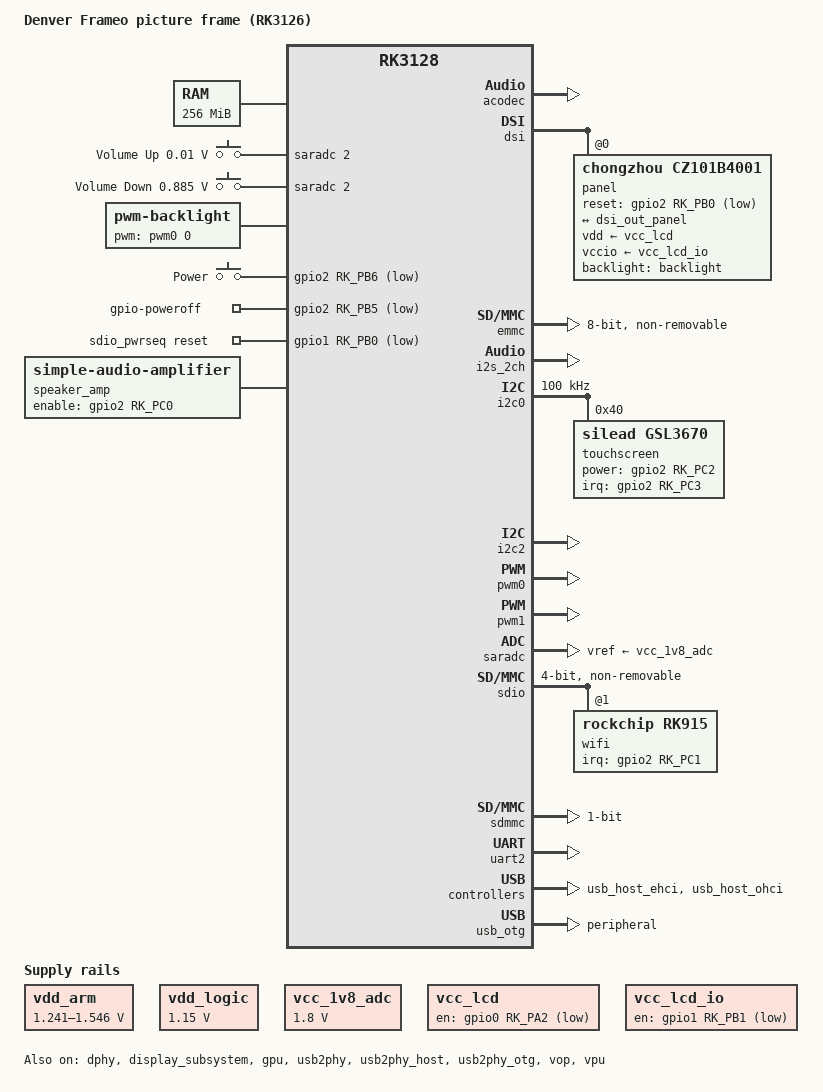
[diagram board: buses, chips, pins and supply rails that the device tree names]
// SPDX-License-Identifier: (GPL-2.0+ OR MIT)
/*
 * Denver Frameo picture frame (RK3126B, "F606C" board by ZhiHeXing).
 *
 * Derived from the device tree of the stock Android firmware
 * (resource partition, rk-kernel.dtb):
 *
 *   display     800x1280 MIPI DSI, 4 lanes, JD9365 controller with the
 *               same init sequence as the Chongzhou CZ101B4001 panel
 *   backlight   PWM0, 40 kHz
 *   panel power GPIO0_A2 (active low), GPIO1_B1 (active low),
 *               reset GPIO2_B0
 *   touch       GSL3673 on I2C0 0x40, IRQ GPIO2_C3, power GPIO2_C2
 *   buttons     SARADC channel 2 (volume up/down), power GPIO2_B6
 *   WiFi        RK915 on SDIO, power GPIO1_B0, wakeup GPIO2_C1
 *   audio       internal codec on the 2-channel I2S, speaker amplifier
 *               enable GPIO2_C0
 *   power off   GPIO2_B5 (power hold, active low = off)
 *
 * vdd_arm comes from a PWM controlled DC/DC converter on PWM1, vdd_logic
 * from a fixed one (board rails "AVDD" and "CVDD", voltages measured).
 *
 * UART2 (GPIO1_C2/C3) shares its pins with SDMMC_D0/D1. This device tree
 * keeps them on the UART (SD card in 1-bit mode without D0, only usable
 * from U-Boot); rk3126-denver-frame-sdroot.dts gives D0 to the SD card for
 * a root filesystem on it.
 */

/dts-v1/;

#include <dt-bindings/input/input.h>
#include "rk3128.dtsi"

/*
 * The SoC is an RK3126B: a few clock gates differ from the RK3128.
 *
 * CPLL at 800 MHz instead of 500 MHz, for a real 400 MHz GPU clock
 * (CPLL/2, see the GPU). The clocks below CPLL that no driver sets get
 * fixed rates: pclk_pmu 80 MHz (800/10, was 83 MHz), hclk_vio moves to
 * GPLL at 118.8 MHz (594/5, was 125 MHz). eMMC, SDIO, UART and I2S drivers
 * set their own rates.
 */
&cru {
	compatible = "rockchip,rk3126-cru";
	assigned-clocks = <&cru PLL_GPLL>, <&cru PLL_CPLL>,
			  <&cru PCLK_PMU_PRE>, <&cru HCLK_VIO>;
	assigned-clock-parents = <0>, <0>, <0>, <&cru PLL_GPLL>;
	assigned-clock-rates = <594000000>, <800000000>,
			       <80000000>, <118800000>;
};

&cpu0 {
	cpu-supply = <&vdd_arm>;
};

/*
 * Voltages are real (measured curve of vdd_arm, see the regulator), the
 * limits found with a self-checking stress test on all four cores
 * (2026-10-15): 816 MHz runs at the lowest possible 1.241 V, 1008 MHz needs
 * about 1.36 V, 1104 MHz 1.44 V, 1200 MHz 1.52 V; 1296 MHz fails even at
 * the regulator maximum of 1.546 V. The stock voltage for 1008 MHz
 * (1.2 V nominal, 1.27 V real) is too low and produces wrong results.
 *
 * 1008 and 1104 MHz get about 60 mV of margin. 1200 MHz is only reached at
 * the regulator maximum (25 mV margin), so it is a turbo OPP: used only
 * after "echo 1 > /sys/devices/system/cpu/cpufreq/boost". The chip reached
 * about 53 degrees C at 1200 MHz under full load. There is no temperature
 * sensor.
 */
&cpu_opp_table {
	opp-216000000 {
		opp-microvolt = <1241000 1241000 1546000>;
	};
	opp-408000000 {
		opp-microvolt = <1241000 1241000 1546000>;
	};
	opp-600000000 {
		opp-microvolt = <1241000 1241000 1546000>;
	};
	opp-696000000 {
		opp-microvolt = <1241000 1241000 1546000>;
	};
	opp-816000000 {
		opp-microvolt = <1241000 1241000 1546000>;
	};
	opp-1008000000 {
		opp-microvolt = <1425000 1425000 1546000>;
	};
	opp-1104000000 {
		opp-hz = /bits/ 64 <1104000000>;
		opp-microvolt = <1500000 1500000 1546000>;
		clock-latency-ns = <40000>;
	};
	opp-1200000000 {
		opp-microvolt = <1546000 1546000 1546000>;
		turbo-mode;
	};
};

/ {
	model = "Denver Frameo picture frame (RK3126)";
	/* rk3126: the RK915 driver picks its SDIO clock per channel by SoC */
	compatible = "denver,frameo-rk3126", "rockchip,rk3126", "rockchip,rk3128";

	aliases {
		mmc0 = &emmc;
		mmc1 = &sdmmc;
		mmc2 = &sdio;
		/* U-Boot writes the MAC address derived from the CPU ID here */
		ethernet0 = &wifi;
	};

	chosen {
		stdout-path = "serial2:115200n8";
	};

	/* Overwritten by U-Boot with the size detected by the DDR init */
	memory@60000000 {
		device_type = "memory";
		reg = <0x60000000 0x10000000>;
	};

	adc-keys {
		compatible = "adc-keys";
		io-channels = <&saradc 2>;
		io-channel-names = "buttons";
		keyup-threshold-microvolt = <1800000>;
		poll-interval = <100>;

		button-volume-up {
			label = "Volume Up";
			linux,code = <KEY_VOLUMEUP>;
			press-threshold-microvolt = <10000>;
		};

		button-volume-down {
			label = "Volume Down";
			linux,code = <KEY_VOLUMEDOWN>;
			press-threshold-microvolt = <885000>;
		};
	};

	backlight: backlight {
		compatible = "pwm-backlight";
		pwms = <&pwm0 0 25000 0>;
		brightness-levels = <0 255>;
		num-interpolated-steps = <255>;
		default-brightness-level = <255>;
	};

	gpio-keys {
		compatible = "gpio-keys";

		button-power {
			label = "Power";
			gpios = <&gpio2 RK_PB6 GPIO_ACTIVE_LOW>;
			linux,code = <KEY_POWER>;
			wakeup-source;
		};
	};

	/* Releases the power hold line, the board switches itself off */
	gpio-poweroff {
		compatible = "gpio-poweroff";
		gpios = <&gpio2 RK_PB5 GPIO_ACTIVE_LOW>;
	};

	sdio_pwrseq: sdio-pwrseq {
		compatible = "mmc-pwrseq-simple";
		/* WiFi power enable, high = on */
		reset-gpios = <&gpio1 RK_PB0 GPIO_ACTIVE_LOW>;
	};

	/*
	 * CPU core voltage (board rail "AVDD"), a DC/DC converter controlled
	 * by PWM1. Measured on the board (2026-10-15): linear, 1546 mV at
	 * 0 % duty, 3.106 mV less per percent, 1241 mV at 98.2 %. The stock
	 * U-Boot formula (1450 mV at 0 %, 2.8 mV per percent) is 66 to 96 mV
	 * too low for this board.
	 *
	 * vdd_arm follows the CPU clock (cpufreq, OPP table above), so it is
	 * a continuous regulator, limited to the measured range up to 98.2 %.
	 */
	vdd_arm: regulator-vdd-arm {
		compatible = "pwm-regulator";
		pwms = <&pwm1 0 25000 0>;
		regulator-name = "vdd_arm";
		regulator-min-microvolt = <1241000>;
		regulator-max-microvolt = <1546000>;
		regulator-always-on;
		regulator-boot-on;
		/* The stock U-Boot waits 200 us after changing the PWM */
		regulator-settling-time-us = <500>;
		pwm-dutycycle-unit = <1000>;
		pwm-dutycycle-range = <982 0>;
	};

	/*
	 * Logic core voltage (board rail "CVDD", also GPU and DDR controller),
	 * measured 1.148 V. A fixed DC/DC converter: the RK3126 has no
	 * PWM2 pin (GPIO0_D4 is not bonded out), the PWM2 regulator of the
	 * stock device tree comes from the RK3128 SDK and does nothing here.
	 * Declared as 1.15 V so the 400 MHz GPU OPP (minimum 1.15 V) stays.
	 */
	vdd_logic: regulator-vdd-logic {
		compatible = "regulator-fixed";
		regulator-name = "vdd_logic";
		regulator-min-microvolt = <1150000>;
		regulator-max-microvolt = <1150000>;
		regulator-always-on;
		regulator-boot-on;
	};

	/* SARADC reference, the stock firmware uses 1.8 V */
	vcc_1v8_adc: regulator-vcc-1v8-adc {
		compatible = "regulator-fixed";
		regulator-name = "vcc_1v8_adc";
		regulator-min-microvolt = <1800000>;
		regulator-max-microvolt = <1800000>;
		regulator-always-on;
	};

	/* Panel power switches, both active low in the stock firmware */
	vcc_lcd: regulator-vcc-lcd {
		compatible = "regulator-fixed";
		regulator-name = "vcc_lcd";
		gpio = <&gpio0 RK_PA2 GPIO_ACTIVE_LOW>;
		startup-delay-us = <100000>;
	};

	vcc_lcd_io: regulator-vcc-lcd-io {
		compatible = "regulator-fixed";
		regulator-name = "vcc_lcd_io";
		gpio = <&gpio1 RK_PB1 GPIO_ACTIVE_LOW>;
		startup-delay-us = <100000>;
	};
};

&dphy {
	status = "okay";
};

&dsi {
	#address-cells = <1>;
	#size-cells = <0>;
	status = "okay";

	panel@0 {
		compatible = "chongzhou,cz101b4001", "jadard,jd9365da-h3";
		reg = <0>;
		backlight = <&backlight>;
		reset-gpios = <&gpio2 RK_PB0 GPIO_ACTIVE_LOW>;
		vdd-supply = <&vcc_lcd>;
		vccio-supply = <&vcc_lcd_io>;

		port {
			panel_in_dsi: endpoint {
				remote-endpoint = <&dsi_out_panel>;
			};
		};
	};
};

&dsi_out {
	dsi_out_panel: endpoint {
		remote-endpoint = <&panel_in_dsi>;
	};
};

&display_subsystem {
	status = "okay";
};

/*
 * No pinctrl: RK3126 and RK3128 route EMMC_CMD to different pins, the
 * Rockchip loader has already set them up.
 */
&emmc {
	bus-width = <8>;
	cap-mmc-highspeed;
	non-removable;
	no-sd;
	no-sdio;
	status = "okay";
};

/*
 * Audio: the internal codec (inno_rk3128, kernel patch 0004) gets its
 * data and MCLK from the 2-channel I2S inside the SoC, its output stage
 * drives two speaker amplifiers (marked 4890, LM4890 class AB, one per
 * speaker), both switched with GPIO2_C0 (stock device tree: spk_ctl_io).
 * DAPM powers the codec first, then the amplifiers.
 *
 * Open problem: playback works, but sounds heavily distorted (strong
 * harmonics on a sine, at any volume). The I2S format, clocks and codec
 * register sequence match the vendor driver; the cause is not found yet,
 * the analog side (amplifier supply and bias) still needs measuring.
 *
 * The RK3126 has no 8-channel I2S and no SPDIF: every access to
 * 0x10200000 and 0x10204000 ends in a bus error. The stock device tree
 * (RK3128 SDK) names i2s_8ch for the codec, but enables the 2-channel
 * I2S without pins, which is the internal connection.
 */
/ {
	acodec: audio-codec@20030000 {
		compatible = "rockchip,rk3128-codec";
		reg = <0x20030000 0x4000>;
		clocks = <&cru PCLK_ACODEC>;
		clock-names = "pclk";
		#sound-dai-cells = <0>;
	};

	speaker_amp: audio-amplifier {
		compatible = "simple-audio-amplifier";
		enable-gpios = <&gpio2 RK_PC0 GPIO_ACTIVE_HIGH>;
		sound-name-prefix = "Speaker Amp";
	};

	sound {
		compatible = "simple-audio-card";
		simple-audio-card,name = "Frame";
		simple-audio-card,format = "i2s";
		simple-audio-card,mclk-fs = <256>;
		simple-audio-card,widgets = "Speaker", "Speaker";
		simple-audio-card,routing =
			"Speaker Amp INL", "HPOUTL",
			"Speaker Amp INR", "HPOUTR",
			"Speaker", "Speaker Amp OUTL",
			"Speaker", "Speaker Amp OUTR";
		simple-audio-card,aux-devs = <&speaker_amp>;

		simple-audio-card,cpu {
			sound-dai = <&i2s_2ch>;
		};

		simple-audio-card,codec {
			sound-dai = <&acodec>;
		};
	};
};

/* Internal connection to the codec, not the external I2S pins */
&i2s_2ch {
	/delete-property/ pinctrl-names;
	/delete-property/ pinctrl-0;
	status = "okay";
};

/*
 * Mali-400 MP2 (lima). vdd_logic is fixed at 1.15 V, so the GPU clock is
 * scaled without voltage changes: drop the 480 MHz point (1.25 V). The
 * stock firmware ran the GPU at 396 MHz.
 *
 * The GPU clock is a divider after a PLL mux: 400 and 200 MHz come from
 * CPLL (800 MHz), 300 MHz would be GPLL/2 (297 MHz). Switching between
 * the two PLLs at run time (devfreq) made the system unstable (dying
 * processes, a white kiosk), so the 300 MHz point is dropped: only the
 * divider changes. 500 MHz fails at 1.15 V (2026-10-16).
 */
&gpu {
	/* Fixed 1.15 V, within the range of all remaining GPU OPPs */
	mali-supply = <&vdd_logic>;
	status = "okay";
};

&gpu_opp_table {
	/delete-node/ opp-300000000;
	/delete-node/ opp-480000000;
};

&i2c0 {
	/*
	 * The stock firmware uses 300 kHz, but then the GSL3673 reads back
	 * wrong data (some 0 bits read as 1) and the firmware load fails.
	 */
	clock-frequency = <100000>;
	status = "okay";

	/*
	 * The touch controller reports 1024x640 with its X axis along the
	 * long side of the panel, running from the bottom (framebuffer
	 * y = 1280) to the top.
	 */
	touchscreen@40 {
		compatible = "silead,gsl3670";
		reg = <0x40>;
		interrupt-parent = <&gpio2>;
		interrupts = <RK_PC3 IRQ_TYPE_EDGE_FALLING>;
		power-gpios = <&gpio2 RK_PC2 GPIO_ACTIVE_HIGH>;
		firmware-name = "gsl3673-denver-frame.fw";
		touchscreen-size-x = <1024>;
		touchscreen-size-y = <640>;
		touchscreen-inverted-x;
		touchscreen-swapped-x-y;
		silead,max-fingers = <10>;
	};
};

/* Enabled for probing only: the stock firmware lists a Goodix touch here */
&i2c2 {
	status = "okay";
};

/*
 * Reading the QoS registers (saved before a power domain is switched off)
 * causes an external abort on the RK3126, and the kernel then hangs on the
 * power domain lock. Skip saving/restoring them; they only hold bus
 * priorities.
 */
&power {
	power-domain@RK3128_PD_VIO {
		/delete-property/ pm_qos;
	};

	power-domain@RK3128_PD_VIDEO {
		/delete-property/ pm_qos;
	};

	power-domain@RK3128_PD_GPU {
		/delete-property/ pm_qos;
	};
};

&pinctrl {
	wifi {
		wifi_host_wake: wifi-host-wake {
			rockchip,pins = <2 RK_PC1 RK_FUNC_GPIO &pcfg_pull_default>;
		};
	};
};

&pwm0 {
	status = "okay";
};

/* vdd_arm */
&pwm1 {
	status = "okay";
};

&saradc {
	vref-supply = <&vcc_1v8_adc>;
	status = "okay";
};

/* RK915 WiFi, out-of-tree driver in drivers/rk915 */
&sdio {
	#address-cells = <1>;
	#size-cells = <0>;
	bus-width = <4>;
	cap-sd-highspeed;
	cap-sdio-irq;
	keep-power-in-suspend;
	max-frequency = <50000000>;
	mmc-pwrseq = <&sdio_pwrseq>;
	no-mmc;
	no-sd;
	non-removable;
	pinctrl-names = "default";
	pinctrl-0 = <&sdio_clk &sdio_cmd &sdio_bus4>;
	status = "okay";

	/* The compatible also enables the SDIO quirks of kernel patch 0005 */
	wifi: wifi@1 {
		compatible = "rockchip,rk915";
		reg = <1>;
		interrupt-parent = <&gpio2>;
		interrupts = <RK_PC1 IRQ_TYPE_LEVEL_HIGH>;
		interrupt-names = "host-wake";
		pinctrl-names = "default";
		pinctrl-0 = <&wifi_host_wake>;
	};
};

&sdmmc {
	bus-width = <1>;
	disable-wp;
	no-mmc;
	no-sdio;
	pinctrl-names = "default";
	pinctrl-0 = <&sdmmc_clk &sdmmc_cmd &sdmmc_det>;
	status = "okay";
};

/*
 * Pull on UART2_RX (GPIO1_C3; fixed pull-up on this pin, the RK3126 can
 * only switch it on or off). The SoC DT leaves it off: without a USB-UART
 * adapter the pin floats, picks up noise and stops the U-Boot autoboot.
 */
&uart2_xfer {
	rockchip,pins = <1 RK_PC2 2 &pcfg_pull_default>,
			<1 RK_PC3 2 &pcfg_pull_default>;
};

&uart2 {
	status = "okay";
};

&usb2phy {
	status = "okay";
};

&usb2phy_host {
	status = "okay";
};

&usb2phy_otg {
	status = "okay";
};

&usb_host_ehci {
	status = "okay";
};

&usb_host_ohci {
	status = "okay";
};

&usb_otg {
	dr_mode = "peripheral";
	status = "okay";
};

/*
 * IOMMU of the VOP, missing in rk3128.dtsi (same layout as on the RK3036:
 * right behind the VOP registers, sharing its interrupt). The stock firmware
 * uses it. Without it the VOP can only scan out physically contiguous
 * buffers and every import of a GPU (lima) buffer fails with "failed to map
 * sg_table to contiguous linear address".
 */
/ {
	vop_mmu: iommu@1010e300 {
		compatible = "rockchip,iommu";
		reg = <0x1010e300 0x100>;
		interrupts = <GIC_SPI 9 IRQ_TYPE_LEVEL_HIGH>;
		clocks = <&cru ACLK_LCDC0>, <&cru HCLK_LCDC0>;
		clock-names = "aclk", "iface";
		power-domains = <&power RK3128_PD_VIO>;
		#iommu-cells = <0>;
	};
};

&vop {
	iommus = <&vop_mmu>;
	status = "okay";
};

/*
 * Hardware video codec (Hantro G1/H1, hantro driver): decodes H.264,
 * MPEG-2 and VP8, encodes JPEG. The separate HEVC decoder of the RK3126
 * has no mainline driver.
 */
&vpu {
	status = "okay";
};

&vpu_mmu {
	status = "okay";
};
